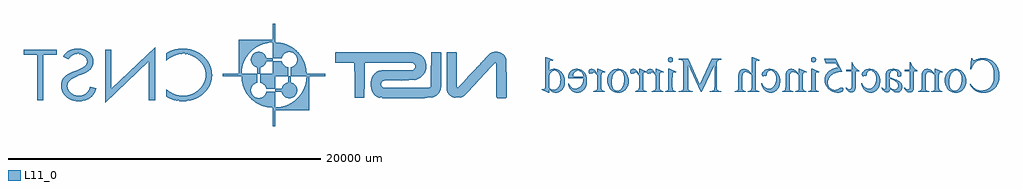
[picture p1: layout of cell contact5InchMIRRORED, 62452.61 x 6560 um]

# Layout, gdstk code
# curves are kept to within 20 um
import gdstk
lib = gdstk.Library(unit=1e-6, precision=1e-09)
def P(c, l, *ps):  # polygons
    for p in ps: c.add(gdstk.Polygon(p, *l))
L11_0 = (11, 0)

contact5inchmirrored = lib.new_cell('contact5InchMIRRORED')
P(contact5inchmirrored, L11_0, [(-11327.531,-58000),(-11327.531,-57943.75),(-11155.266,-57900.684),(-11089.128,-57791.479),(-11077.531,-56979.687),(-11254.484,-56745.312),(-11302.385,-56740.869),(-11449.211,-56831.836),(-11534.367,-56842.676),(-11621.867,-56780.859),(-11641.203,-56666.65),(-11542.106,-56547.009),(-11375.712,-56537.878),(-11213.615,-56652.295),(-11077.531,-56848.437),(-11077.531,-56526.562),(-11011.906,-56526.562),(-10579.094,-56701.562),(-10594.719,-56757.812),(-10704.094,-56734.375),(-10784.66,-56768.799),(-10819.084,-57011.084),(-10811.906,-57829.687),(-10743.059,-57917.432),(-10594.719,-57943.75),(-10594.719,-58000)],
  [(-9741.594,-58043.75),(-9930.852,-58018.75),(-10117.98,-57932.812),(-9689.534,-57910.687),(-9566.78,-57825.726),(-9466.395,-57677.594),(-9380.995,-57424.176),(-9358.024,-57119.849),(-9396.696,-56881.958),(-9485.747,-56724.695),(-9668.889,-56631.201),(-9866.984,-56665.625),(-10013.023,-56806.104),(-10116.203,-57037.5),(-10157.219,-57378.125),(-10118.767,-57688.794),(-9992.07,-57873.73),(-9808.781,-57932.812),(-10117.98,-57932.812),(-10213.261,-57855.127),(-10377.263,-57597.729),(-10446.403,-57305.933),(-10415.843,-57030.518),(-10280.656,-56773.437),(-10083.867,-56604.675),(-9798.906,-56527.527),(-9543.449,-56562.878),(-9310.429,-56703.54),(-9141.362,-56955.701),(-9068.12,-57249.255),(-9106.828,-57555.469),(-9251.878,-57817.157),(-9451.359,-57979.297)],
  [(-8661.531,-58000),(-8661.531,-57943.75),(-8489.266,-57900.684),(-8423.128,-57791.479),(-8411.531,-56979.687),(-8588.484,-56745.312),(-8636.385,-56740.869),(-8783.211,-56831.836),(-8868.367,-56842.676),(-8955.867,-56780.859),(-8975.203,-56666.65),(-8876.106,-56547.009),(-8709.712,-56537.878),(-8547.615,-56652.295),(-8411.531,-56848.437),(-8411.531,-56526.562),(-8345.906,-56526.562),(-7913.094,-56701.562),(-7928.719,-56757.812),(-8038.094,-56734.375),(-8118.66,-56768.799),(-8153.084,-57011.084),(-8145.906,-57829.687),(-8077.059,-57917.432),(-7928.719,-57943.75),(-7928.719,-58000)],
  [(-7595.531,-58000),(-7595.531,-57943.75),(-7423.266,-57900.684),(-7357.128,-57791.479),(-7345.531,-56979.687),(-7522.484,-56745.312),(-7570.385,-56740.869),(-7717.211,-56831.836),(-7802.367,-56842.676),(-7889.867,-56780.859),(-7909.203,-56666.65),(-7810.106,-56547.009),(-7643.712,-56537.878),(-7481.615,-56652.295),(-7345.531,-56848.437),(-7345.531,-56526.562),(-7279.906,-56526.562),(-6847.094,-56701.562),(-6862.719,-56757.812),(-6972.094,-56734.375),(-7052.66,-56768.799),(-7087.084,-57011.084),(-7079.906,-57829.687),(-7011.059,-57917.432),(-6862.719,-57943.75),(-6862.719,-58000)],
  [(-6748.719,-58000),(-6748.719,-57943.75),(-6608.875,-57921.875),(-6542.518,-57827.588),(-6531.531,-56526.562),(-6462.781,-56526.562),(-6031.531,-56701.562),(-6053.406,-56757.812),(-6159.656,-56734.375),(-6234.656,-56765.576),(-6271.277,-57018.848),(-6260.291,-57827.441),(-6194.031,-57923.437),(-6053.406,-57943.75),(-6053.406,-58000)],
  [(11.594,-58043.75),(-207.309,-57995.547),(-382.504,-57871.854),(-516.586,-57678.738),(-588.406,-57456.25),(-543.094,-57434.375),(-439.7,-57624.927),(-344.949,-57719.849),(-138.699,-57798.364),(0.607,-57787.744),(111.981,-57737.955),(281.683,-57528.256),(352.435,-57305.844),(356.809,-57031.934),(293.527,-56829.59),(172.635,-56685.901),(24.704,-56633.057),(-134.988,-56657.617),(-208.133,-56737.5),(-257.046,-56934.619),(-339.7,-56994.775),(-463.602,-56993.945),(-538.211,-56924.023),(-534.506,-56795.956),(-443.704,-56666.345),(-299.344,-56570.203),(-116.531,-56528.308),(165.723,-56566.937),(391.651,-56711.957),(554.315,-56946.295),(614.707,-57203.54),(592.355,-57527.051),(479.074,-57785.645),(266.037,-57978.986)],
  [(741.281,-58000),(741.281,-57943.75),(882.688,-57921.875),(947.727,-57831.25),(968.625,-56896.875),(1021.555,-56715.674),(1108.225,-56600.989),(1273.801,-56530.225),(1445.871,-56545.508),(1624.655,-56644.971),(1810.031,-56829.687),(1810.031,-56526.562),(1877.219,-56526.562),(2308.469,-56701.562),(2285.031,-56757.812),(2180.344,-56734.375),(2104.172,-56767.09),(2068.576,-57029.004),(2082.797,-57832.507),(2144.833,-57922.083),(2285.031,-57943.75),(2285.031,-58000),(1577.219,-58000),(1577.219,-57943.75),(1732.688,-57922.656),(1800.363,-57832.129),(1810.031,-56921.875),(1625.266,-56769.531),(1439.719,-56718.75),(1298.361,-56768.408),(1237.68,-56888.293),(1217.844,-57676.562),(1253.085,-57886.365),(1317.905,-57931.848),(1449.094,-57943.75),(1449.094,-58000)],
  [(2405.281,-58000),(2405.281,-57943.75),(2545.125,-57921.875),(2611.482,-57827.588),(2622.469,-56526.562),(2691.219,-56526.562),(3122.469,-56701.562),(3100.594,-56757.812),(2994.344,-56734.375),(2919.344,-56765.576),(2882.723,-57018.848),(2893.709,-57827.441),(2959.969,-57923.437),(3100.594,-57943.75),(3100.594,-58000)],
  [(6409.594,-58043.75),(6190.691,-57995.547),(6015.496,-57871.854),(5881.414,-57678.738),(5809.594,-57456.25),(5854.906,-57434.375),(5958.3,-57624.927),(6053.051,-57719.849),(6259.301,-57798.364),(6398.607,-57787.744),(6509.981,-57737.955),(6679.683,-57528.256),(6750.435,-57305.844),(6754.809,-57031.934),(6691.527,-56829.59),(6570.635,-56685.901),(6422.704,-56633.057),(6263.012,-56657.617),(6189.867,-56737.5),(6140.954,-56934.619),(6058.3,-56994.775),(5934.398,-56993.945),(5859.789,-56924.023),(5863.494,-56795.956),(5954.296,-56666.345),(6098.656,-56570.203),(6281.469,-56528.308),(6563.723,-56566.937),(6789.651,-56711.957),(6952.315,-56946.295),(7012.707,-57203.54),(6990.355,-57527.051),(6877.074,-57785.645),(6664.037,-57978.986)],
  [(8090.531,-58029.687),(7910.844,-57990.625),(7706.006,-57848.437),(7968.339,-57847.278),(8084.354,-57791.614),(8164.457,-57641.357),(8138.773,-57461.816),(7968.729,-57296.973),(7634.281,-57146.875),(7634.281,-57692.187),(7809.281,-57809.375),(7946.781,-57848.437),(7706.006,-57848.437),(7634.281,-57793.75),(7587.406,-57975),(7518.559,-58020.654),(7445.548,-58027.209),(7302.25,-57969.531),(7131.156,-57793.75),(7131.156,-57706.25),(7267.484,-57825.098),(7323.539,-57827.344),(7358.305,-57792.383),(7392.289,-56784.57),(7460.453,-56652.734),(7605.766,-56562.598),(7853.031,-56526.562),(8097.422,-56562.158),(8271.195,-56667.529),(8363.041,-56804.089),(8362.125,-56962.231),(8309.245,-57021.631),(8245.219,-57037.5),(8179.85,-57022.241),(8133.061,-56976.855),(8100.688,-56732.031),(7988.188,-56635.156),(7868.449,-56623.12),(7761.906,-56653.003),(7694.019,-56712.048),(7651.273,-56814.844),(7634.281,-57051.562),(8199.796,-57303.32),(8346.342,-57427.344),(8412.846,-57541.064),(8429.655,-57701.343),(8377.104,-57873.34),(8255.631,-57990.015)],
  [(9448.281,-58000),(9448.281,-57943.75),(9589.688,-57921.875),(9654.727,-57831.25),(9675.625,-56896.875),(9728.555,-56715.674),(9815.225,-56600.989),(9980.801,-56530.225),(10152.871,-56545.508),(10331.655,-56644.971),(10517.031,-56829.687),(10517.031,-56526.562),(10584.219,-56526.562),(11015.469,-56701.562),(10992.031,-56757.812),(10887.344,-56734.375),(10811.172,-56767.09),(10775.576,-57029.004),(10789.797,-57832.507),(10851.833,-57922.083),(10992.031,-57943.75),(10992.031,-58000),(10284.219,-58000),(10284.219,-57943.75),(10439.688,-57922.656),(10507.363,-57832.129),(10517.031,-56921.875),(10332.266,-56769.531),(10146.719,-56718.75),(10005.361,-56768.408),(9944.68,-56888.293),(9924.844,-57676.562),(9960.085,-57886.365),(10024.905,-57931.848),(10156.094,-57943.75),(10156.094,-58000)],
  [(11851.406,-58043.75),(11662.148,-58018.75),(11475.02,-57932.812),(11903.466,-57910.687),(12026.22,-57825.726),(12126.605,-57677.594),(12212.005,-57424.176),(12234.976,-57119.849),(12196.304,-56881.958),(12107.253,-56724.695),(11924.111,-56631.201),(11726.016,-56665.625),(11579.977,-56806.104),(11476.797,-57037.5),(11435.781,-57378.125),(11474.233,-57688.794),(11600.93,-57873.73),(11784.219,-57932.812),(11475.02,-57932.812),(11379.739,-57855.127),(11215.737,-57597.729),(11146.597,-57305.933),(11177.157,-57030.518),(11312.344,-56773.437),(11509.133,-56604.675),(11794.094,-56527.527),(12049.551,-56562.878),(12282.571,-56703.54),(12451.638,-56955.701),(12524.88,-57249.255),(12486.172,-57555.469),(12341.122,-57817.157),(12141.641,-57979.297)],
  [(-12368.531,-58043.75),(-12586.109,-57999.805),(-12743.806,-57889.255),(-12878.004,-57706.833),(-12954.469,-57478.125),(-12906.031,-57446.875),(-12827.32,-57606.836),(-12705.262,-57729.846),(-12487.281,-57789.062),(-12360.786,-57771.362),(-12244.972,-57718.262),(-12139.839,-57629.761),(-12051.832,-57508.594),(-11986.427,-57327.539),(-11965.406,-57107.812),(-12954.469,-57107.812),(-12949.538,-57017.187),(-11965.406,-57017.187),(-12003.883,-56857.227),(-12084.937,-56736.719),(-12194.117,-56661.133),(-12316.969,-56635.937),(-12439.576,-56664.062),(-12546.461,-56745.312),(-12606.52,-56856.641),(-12627.906,-57017.187),(-12949.538,-57017.187),(-12894.044,-56817.59),(-12780.11,-56664.389),(-12623.609,-56564.648),(-12434.211,-56525.62),(-12144.117,-56576.367),(-11931.812,-56730.469),(-11790.602,-56976.367),(-11744.267,-57257.858),(-11778.672,-57573.337),(-11904.893,-57817.331),(-12129.273,-57993.555)],
  [(5172.406,-58023.437),(5042.035,-57993.225),(4941.864,-57925.574),(4811.469,-57715.625),(4872.406,-57715.625),(4935.639,-57801.672),(5034.564,-57841.687),(5116.681,-57823.267),(5174.03,-57744.678),(5189.594,-56678.125),(4855.219,-56678.125),(4855.219,-56568.75),(5189.594,-56568.75),(5189.594,-56098.437),(5238.031,-56098.437),(5393.512,-56395.715),(5520.587,-56529.919),(5673.969,-56626.562),(5673.969,-56678.125),(5447.406,-56678.125),(5434.589,-57802.551),(5345.16,-57961.523)],
  [(8901.406,-58023.437),(8771.035,-57993.225),(8670.864,-57925.574),(8540.469,-57715.625),(8601.406,-57715.625),(8664.639,-57801.672),(8763.564,-57841.687),(8845.681,-57823.267),(8903.03,-57744.678),(8918.594,-56678.125),(8584.219,-56678.125),(8584.219,-56568.75),(8918.594,-56568.75),(8918.594,-56098.437),(8967.031,-56098.437),(9122.512,-56395.715),(9249.587,-56529.919),(9402.969,-56626.562),(9402.969,-56678.125),(9176.406,-56678.125),(9163.589,-57802.551),(9074.16,-57961.523)],
  [(-5870.906,-58000),(-5870.906,-57942.187),(-5713.167,-57932.959),(-5614.656,-57876.562),(-5570.906,-57632.812),(-5579.5,-56102.344),(-5638.387,-55984.766),(-5734.48,-55944.141),(-5870.906,-55939.062),(-5870.906,-55881.25),(-5270.906,-55881.25),(-4514.656,-57539.062),(-3745.906,-55881.25),(-3145.906,-55881.25),(-3145.906,-55939.062),(-3300.447,-55956.201),(-3401.424,-56023.584),(-3445.906,-56248.437),(-3437.312,-57778.906),(-3378.523,-57896.484),(-3283.211,-57937.109),(-3145.906,-57942.187),(-3145.906,-58000),(-3883.406,-58000),(-3883.406,-57942.187),(-3658.699,-57905.273),(-3593.953,-57791.406),(-3583.406,-56217.187),(-4402.156,-58000),(-4453.719,-58000),(-5270.906,-56217.187),(-5262.312,-57778.906),(-5204.109,-57896.484),(-5108.797,-57937.109),(-4970.906,-57942.187),(-4970.906,-58000)],
  [(4299.031,-58037.5),(3975.35,-57971.704),(3700.594,-57790.625),(3513.57,-57512.5),(3461.531,-57239.062),(3527.284,-56939.355),(3700.289,-56708.929),(3996.187,-56520.16),(4325.594,-56431.25),(4186.531,-56146.875),(3549.031,-56146.875),(3427.156,-55881.25),(4186.531,-55881.25),(4592.781,-56704.687),(4221.59,-56754.492),(3979.012,-56864.563),(3788.094,-57042.969),(3682.015,-57261.047),(3665.196,-57426.132),(3699.227,-57584.961),(3786.193,-57720.761),(3912.911,-57822.546),(4154.061,-57875.293),(4273.201,-57844.824),(4498.445,-57721.875),(4586.531,-57727.148),(4642.879,-57769.775),(4657.674,-57867.92),(4576.375,-57972.656),(4463.68,-58021.289)],
  [(13621.344,-58048.437),(13349.078,-58015.625),(13116.656,-57917.187),(12917.438,-57748.047),(12744.781,-57503.125),(12793.219,-57471.875),(13059.234,-57767.627),(13310.016,-57888.867),(13674.92,-57895.117),(13971.649,-57768.774),(14166.318,-57550.641),(14273.297,-57244.922),(14290.24,-56809.473),(14221.576,-56454.126),(14115.228,-56235.876),(13951.724,-56066.22),(13750.25,-55972.07),(13487.701,-55947.534),(13263.092,-56000.854),(13096.081,-56105.981),(12959.234,-56275),(12841.656,-56553.125),(12793.219,-56553.125),(12841.656,-55832.812),(12896.344,-55832.812),(12954.156,-55950),(13027.594,-55979.687),(13289.801,-55876.758),(13517.145,-55834.57),(13754.538,-55847.079),(13991.51,-55914.99),(14179.632,-56017.297),(14341.461,-56154.883),(14473.187,-56326.086),(14585.388,-56561.676),(14643.707,-56818.066),(14645.013,-57117.468),(14598.688,-57341.406),(14487.506,-57583.545),(14320.221,-57790.564),(14138.58,-57924.841),(13927.252,-58010.291)],
  [(-14227.594,-58043.75),(-14652.594,-57867.187),(-14635.406,-57812.5),(-14476.178,-57826.758),(-14422.503,-57722.913),(-14413.531,-55778.125),(-14343.219,-55778.125),(-13916.656,-55953.125),(-13936.969,-56007.812),(-14062.75,-55984.082),(-14137.311,-56053.809),(-14155.719,-56645.312),(-14035.15,-56563.068),(-13889.459,-56526.88),(-13697.809,-56540.967),(-13535.547,-56605.832),(-13394.952,-56720.593),(-13278.937,-56878.11),(-13188.116,-57084.433),(-13154.059,-57267.615),(-13161.969,-57490.674),(-13206.402,-57654.691),(-13285.016,-57796.887),(-13417.242,-57933.447),(-13541.693,-58006.216),(-13706.341,-58042.984),(-13873.834,-58025.134),(-14026.69,-57951.672),(-14122.792,-57871.875),(-13778.302,-57855.472),(-13574.469,-57703.906),(-13471.344,-57499.023),(-13437.506,-57259.189),(-13472.516,-56945.312),(-13606.573,-56716.382),(-13790.558,-56623.804),(-13994.11,-56678.21),(-14099.469,-56798.437),(-14152.789,-56965.918),(-14155.719,-57729.687),(-14020.562,-57836.328),(-13880.719,-57871.875),(-14122.792,-57871.875),(-14155.719,-57839.062),(-14155.719,-58043.75)],
  [(-6401.844,-56095.312),(-6513.562,-56048.437),(-6559.656,-55935.937),(-6513.562,-55824.219),(-6401.844,-55778.125),(-6288.562,-55824.219),(-6242.469,-55935.937),(-6289.344,-56048.437)],
  [(-2272.469,-58000),(-2272.469,-57943.75),(-2134.969,-57921.875),(-2072.273,-57832.129),(-2052.547,-56946.094),(-2030.281,-56804.687),(-1959.847,-56654.907),(-1804.5,-56543.359),(-1615.047,-56534.143),(-1432.82,-56615.967),(-1213.094,-56825),(-1213.094,-55778.125),(-1141.219,-55778.125),(-713.094,-55953.125),(-734.969,-56007.812),(-841.219,-55982.812),(-917.391,-56015.527),(-952.986,-56270.41),(-949.031,-57788.281),(-913.094,-57891.406),(-734.969,-57943.75),(-734.969,-58000),(-1444.344,-58000),(-1444.344,-57943.75),(-1290.437,-57919.531),(-1222.322,-57834.473),(-1213.094,-56920.312),(-1390.315,-56767.7),(-1570.906,-56715.625),(-1711.861,-56762.097),(-1782.051,-56883.374),(-1800.594,-57676.562),(-1767.22,-57886.365),(-1703.353,-57931.848),(-1569.344,-57943.75),(-1569.344,-58000)],
  [(2752.156,-56095.312),(2640.438,-56048.437),(2594.344,-55935.937),(2640.438,-55824.219),(2752.156,-55778.125),(2865.438,-55824.219),(2911.531,-55935.937),(2864.656,-56048.437)],
  [(-30788.219,-58393.281),(-30956.664,-58364.055),(-31105.416,-58279.785),(-31217.084,-58150.332),(-31280.789,-57978.281),(-31688.219,-57978.281),(-31688.219,-57808.281),(-31280.789,-57808.281),(-31229.18,-57657.582),(-31141.771,-57539.727),(-31023.918,-57452.32),(-30873.219,-57400.711),(-30873.219,-56993.281),(-30703.219,-56993.281),(-30703.219,-57400.711),(-30552.52,-57452.32),(-30417.744,-57557.5),(-30326.279,-57701.941),(-30288.82,-57868.746),(-30317.447,-58061.727),(-30434.666,-58246.836),(-30596.877,-58355.223)],
  [(-32255.648,-57808.281),(-32307.258,-57657.582),(-32394.666,-57539.727),(-32512.52,-57452.32),(-32663.219,-57400.711),(-32663.219,-56833.281),(-31848.219,-56833.281),(-31848.219,-56018.281),(-31280.789,-56018.281),(-31229.18,-56168.98),(-31141.771,-56286.836),(-31023.918,-56374.242),(-30873.219,-56425.852),(-30873.219,-56993.281),(-31688.219,-56993.281),(-31688.219,-57808.281)],
  [(-23942.133,-58390.695),(-24970.484,-58376.002),(-25131.757,-58323.647),(-25283.891,-58222.894),(-25455.984,-58006.872),(-25555.376,-57726.132),(-25563.951,-57314.644),(-25479.8,-57048.125),(-25276.551,-56789.427),(-24982.616,-56634.438),(-22905.623,-56604.465),(-22773.887,-56518.684),(-22719.716,-56411.889),(-22739.604,-56286.273),(-22834.304,-56174.983),(-22902.463,-56128.383),(-25972.463,-56128.383),(-25980.463,-58383.824),(-26604.822,-58383.824),(-26620.463,-56136.184),(-27841.701,-56116.344),(-27828.911,-55472.909),(-22918.931,-55470.071),(-22719.946,-55495.104),(-22497.496,-55579.589),(-22310.294,-55702.036),(-22180.827,-55849.388),(-22079.615,-56059.24),(-22032.572,-56289.948),(-22040.27,-56508.66),(-22098.827,-56709.356),(-22212.585,-56884.145),(-22377.807,-57041.483),(-22625.11,-57186.935),(-22798.869,-57240.84),(-24703.919,-57283.929),(-24844.234,-57316.101),(-24907.833,-57419.78),(-24907.134,-57597.449),(-24774.136,-57728.26),(-23329.822,-57743.824),(-22038.92,-57736.857),(-21767.103,-57691.001),(-21738.348,-57472.61),(-21702.805,-55484.876),(-21510.685,-55459.215),(-21086.709,-55472.909),(-21077.046,-57633.053),(-21126.168,-57886.17),(-21279.246,-58123.925),(-21502.437,-58285.877),(-21769.892,-58373.553)],
  [(-17207.463,-58391.664),(-17472.744,-58386.804),(-17529.403,-58356.338),(-17549.175,-56291.332),(-17561.45,-56158.357),(-17602.955,-56138.296),(-19598.356,-58229.6),(-19827.659,-58345.787),(-20052.639,-58384.082),(-20283.989,-58339.775),(-20492.088,-58222.36),(-20617.821,-58087.5),(-20720.463,-57899.945),(-20709.753,-55470.868),(-20204.985,-55459.843),(-20089.845,-55496.297),(-20068.628,-57542.139),(-20040.058,-57732.364),(-19946.491,-57670.323),(-17940.061,-55535.713),(-17742.63,-55450.214),(-17484.209,-55437.09),(-17306.44,-55477.442),(-17122.524,-55586.739),(-16973.246,-55762.869),(-16905.863,-55960.523),(-16894.301,-58354.28),(-16934.788,-58384.7)],
  [(-32833.219,-56833.281),(-32833.219,-56425.852),(-33005.27,-56362.145),(-33149.824,-56231.133),(-33233.234,-56054.77),(-33245.812,-55884.273),(-33189.18,-55697.582),(-33065.414,-55546.777),(-32893.359,-55454.812),(-32699.211,-55435.687),(-32534.441,-55481.285),(-32412.439,-55562.805),(-32307.258,-55697.582),(-32255.648,-55848.281),(-31848.219,-55848.281),(-31848.219,-56018.281),(-32255.648,-56018.281),(-32307.258,-56168.98),(-32394.666,-56286.836),(-32512.52,-56374.242),(-32663.219,-56425.852),(-32663.219,-56833.281)],
  [(-46925.18,-58534.383),(-46925.18,-55619.703),(-47800.02,-55619.703),(-47800.02,-55283.621),(-45660.18,-55283.621),(-45660.18,-55619.703),(-46525.617,-55619.703),(-46525.617,-58534.383)],
  [(-44262.219,-58590.34),(-44688.418,-58518.023),(-45049.637,-58309.929),(-45189.122,-58163.77),(-45295.178,-57994.249),(-45361.786,-57811.081),(-45388.485,-57619.131),(-45328.224,-57268.961),(-45242.624,-57122.063),(-45118.745,-56991.341),(-44801.054,-56790.435),(-43995.304,-56439.782),(-43843.293,-56326.249),(-43755.93,-56199.972),(-43732.136,-56020.185),(-43793.21,-55835.742),(-43928.297,-55688.218),(-44116.907,-55594.301),(-44359.268,-55564.371),(-44600.274,-55610.246),(-44784.837,-55724.807),(-44942.219,-55917.34),(-45260.937,-55731.902),(-45097.975,-55524.406),(-44890.492,-55368.307),(-44645.755,-55268.04),(-44380.289,-55228.346),(-44149.716,-55240.596),(-43930.067,-55293.292),(-43732.962,-55383.745),(-43566.422,-55509.157),(-43444.113,-55657.684),(-43364.885,-55827.502),(-43331.387,-56014.372),(-43345.704,-56213.028),(-43451.163,-56456.65),(-43656.534,-56655.248),(-43938.032,-56812.665),(-44608.521,-57097.453),(-44853.944,-57269.713),(-44942.954,-57398.122),(-44984.947,-57544.089),(-44982.775,-57708.54),(-44932.331,-57866.799),(-44814.388,-58030.288),(-44640.342,-58158.305),(-44429.701,-58235.126),(-44199.339,-58252.294),(-43962.781,-58197.469),(-43763.079,-58071.639),(-43611.126,-57878.137),(-43534.699,-57650.621),(-43144.699,-57749.703),(-43286.602,-58093.829),(-43535.092,-58362.593),(-43866.723,-58531.75)],
  [(-37605.012,-58590.34),(-37889.445,-58568.966),(-38166.898,-58506.766),(-38431.032,-58406.623),(-38675.18,-58271.422),(-38675.18,-57822.98),(-38313.208,-58072.982),(-37899.885,-58221.048),(-37488.23,-58250.499),(-37073.964,-58163.355),(-36692.568,-57958.718),(-36394.205,-57662.464),(-36201.204,-57298.854),(-36135.777,-56908.941),(-36203.404,-56511.283),(-36397.376,-56148.752),(-36695.592,-55854.03),(-37075.925,-55651.41),(-37488.538,-55566.631),(-37914.706,-55599.305),(-38321.117,-55745.352),(-38675.18,-55995.02),(-38675.18,-55546.582),(-38429.767,-55405.82),(-38170.544,-55306.236),(-37896.179,-55247.055),(-37605.34,-55227.5),(-37241.502,-55260.014),(-36890.457,-55357.284),(-36571.941,-55512.373),(-36285.679,-55725.491),(-36050.624,-55985.041),(-35879.567,-56273.843),(-35772.281,-56592.148),(-35736.418,-56922.062),(-35772.822,-57248.371),(-35877.073,-57553.085),(-36047.961,-57838.548),(-36282.936,-58094.999),(-36568.674,-58305.692),(-36896.198,-58463.307),(-37245.213,-58558.538)],
  [(-42569.539,-58680.941),(-42569.539,-55283.621),(-42170.02,-55283.621),(-42170.02,-57801.422),(-39374.059,-55145.621),(-39374.059,-58534.383),(-39773.457,-58534.383),(-39773.457,-56029.383)],
  [(-31848.219,-60193.281),(-31848.219,-58993.281),(-31492.184,-58983.652),(-31154.793,-58920.832),(-30833.109,-58801.262),(-30556.756,-58642.461),(-30291.467,-58424.742),(-30067.305,-58164.879),(-29890.869,-57870.516),(-29774.338,-57573.852),(-29709.865,-57286.742),(-29688.219,-56993.281),(-30703.219,-56993.281),(-30703.219,-56425.852),(-30552.52,-56374.242),(-30434.666,-56286.836),(-30347.258,-56168.98),(-30297.826,-56030.828),(-30309.748,-55788.141),(-30434.666,-55579.727),(-30643.076,-55454.812),(-30885.764,-55442.887),(-31023.918,-55492.32),(-31141.771,-55579.727),(-31229.18,-55697.582),(-31280.789,-55848.281),(-31848.219,-55848.281),(-31848.219,-54833.281),(-32190.143,-54862.727),(-32703.328,-55025.301),(-33135.883,-55302.945),(-33483.387,-55681.664),(-33722.898,-56136.445),(-33814.43,-56467.203),(-33848.219,-56833.281),(-32833.219,-56833.281),(-32833.219,-57400.711),(-33084,-57522.805),(-33177.082,-57636.23),(-33233.234,-57771.793),(-33238.613,-57990.828),(-33149.824,-58191.133),(-32939.559,-58355.223),(-32674.854,-58387.871),(-32534.441,-58345.277),(-32394.666,-58246.836),(-32307.258,-58128.98),(-32255.648,-57978.281),(-31688.219,-57978.281),(-31688.219,-58993.281),(-32132.848,-58972.926),(-32513.588,-58879.355),(-32899.297,-58694.82),(-33211.055,-58457.07),(-33491.059,-58133.926),(-33682.023,-57791.508),(-33809.789,-57383.461),(-33848.219,-56993.281),(-35048.219,-56993.281),(-35048.219,-56833.281),(-34028.219,-56833.281),(-34028.219,-54653.281),(-31848.219,-54653.281),(-31848.219,-53633.281),(-31688.219,-53633.281),(-31688.219,-54833.281),(-31298.039,-54871.711),(-30922.852,-54985.523),(-30577.078,-55170.344),(-30274.006,-55419.066),(-30025.279,-55722.141),(-29840.459,-56067.914),(-29726.648,-56443.102),(-29688.219,-56833.281),(-28488.219,-56833.281),(-28488.219,-56993.281),(-29508.219,-56993.281),(-29508.219,-59173.281),(-31688.219,-59173.281),(-31688.219,-60193.281)])

lib.write_gds('contact5InchMIRRORED.gds')
